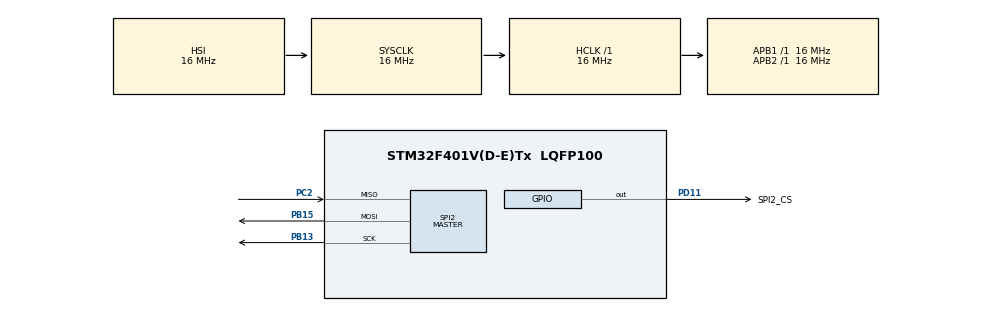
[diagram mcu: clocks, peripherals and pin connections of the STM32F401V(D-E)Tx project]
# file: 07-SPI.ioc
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Dma.Request0=SPI2_TX
Dma.SPI2_TX.0.Direction=DMA_MEMORY_TO_PERIPH
Dma.SPI2_TX.0.FIFOMode=DMA_FIFOMODE_DISABLE
Dma.SPI2_TX.0.Instance=DMA1_Stream4
Dma.SPI2_TX.0.MemDataAlignment=DMA_MDATAALIGN_BYTE
Dma.SPI2_TX.0.MemInc=DMA_MINC_ENABLE
Dma.SPI2_TX.0.Mode=DMA_CIRCULAR
Dma.SPI2_TX.0.PeriphDataAlignment=DMA_PDATAALIGN_BYTE
Dma.SPI2_TX.0.PeriphInc=DMA_PINC_DISABLE
Dma.SPI2_TX.0.Priority=DMA_PRIORITY_LOW
Mcu.Family=STM32F4
Mcu.Name=STM32F401V(D-E)Tx
Mcu.Package=LQFP100
NVIC.DMA1_Stream4_IRQn=true\:0\:0\:false\:false\:true\:false\:true\:true
NVIC.PriorityGroup=NVIC_PRIORITYGROUP_4
NVIC.SPI2_IRQn=true\:0\:0\:false\:false\:true\:true\:true\:true
PA13.Mode=Serial_Wire
PA13.Signal=SYS_JTMS-SWDIO
PA14.Mode=Serial_Wire
PA14.Signal=SYS_JTCK-SWCLK
PB13.Mode=Full_Duplex_Master
PB13.Signal=SPI2_SCK
PB15.Mode=Full_Duplex_Master
PB15.Signal=SPI2_MOSI
PC2.Mode=Full_Duplex_Master
PC2.Signal=SPI2_MISO
PD11.GPIO_Label=SPI2_CS
PD11.PinState=GPIO_PIN_SET
PD11.Signal=GPIO_Output
ProjectManager.HeapSize=0x200
ProjectManager.StackSize=0x400
ProjectManager.TargetToolchain=STM32CubeIDE
RCC.AHBFreq_Value=16000000
RCC.APB1Freq_Value=16000000
RCC.APB2Freq_Value=16000000
RCC.CortexFreq_Value=16000000
RCC.HSE_VALUE=25000000
RCC.HSI_VALUE=16000000
RCC.LSE_VALUE=32768
RCC.SYSCLKFreq_VALUE=16000000
RCC.VCOOutputFreq_Value=192000000
SPI2.DataSize=SPI_DATASIZE_8BIT
SPI2.Direction=SPI_DIRECTION_2LINES
SPI2.Mode=SPI_MODE_MASTER
SPI2.VirtualType=VM_MASTER
board=custom

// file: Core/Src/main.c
/* USER CODE BEGIN Header */
/**
  ******************************************************************************
  * @file           : main.c
  * @brief          : Main program body
  ******************************************************************************
  * @attention
  *
  * Copyright (c) 2022 STMicroelectronics.
  * All rights reserved.
  *
  * This software is licensed under terms that can be found in the LICENSE file
  * in the root directory of this software component.
  * If no LICENSE file comes with this software, it is provided AS-IS.
  *
  ******************************************************************************
  */
/* USER CODE END Header */
#include "main.h"

SPI_HandleTypeDef hspi2;
DMA_HandleTypeDef hdma_spi2_tx;

void SystemClock_Config(void);
static void MX_GPIO_Init(void);
static void MX_DMA_Init(void);
static void MX_SPI2_Init(void);
/* USER CODE BEGIN PFP */
static void HAL_SPI_ChangeDataSizeTo16Bit( SPI_HandleTypeDef *hspi );
static void HAL_SPI_ChangeDataSizeTo8Bit( SPI_HandleTypeDef *hspi );
/* USER CODE END PFP */

int main(void)
{

  /* MCU Configuration--------------------------------------------------------*/

  /* Reset of all peripherals, Initializes the Flash interface and the Systick. */
  HAL_Init();

  /* Configure the system clock */
  SystemClock_Config();

  /* Initialize all configured peripherals */
  MX_GPIO_Init();
  MX_DMA_Init();
  MX_SPI2_Init();
  /* USER CODE BEGIN 2 */
  // 16-bit mode
  HAL_SPI_ChangeDataSizeTo16Bit(&hspi2);
  HAL_GPIO_WritePin(SPI2_CS_GPIO_Port, SPI2_CS_Pin, GPIO_PIN_RESET);
  uint16_t data1[] = {0x0102, 0x0304, 0x0506, 0x0708, 0x0910};
  HAL_SPI_Transmit(&hspi2, (uint8_t*)data1, 5u, 1000u);
  HAL_GPIO_WritePin(SPI2_CS_GPIO_Port, SPI2_CS_Pin, GPIO_PIN_SET);
  // 8-bit mode
  HAL_SPI_ChangeDataSizeTo8Bit(&hspi2);
  HAL_GPIO_WritePin(SPI2_CS_GPIO_Port, SPI2_CS_Pin, GPIO_PIN_RESET);
  uint8_t data2[] = {0x01, 0x02, 0x03, 0x04, 0x05, 0x06, 0x07, 0x08, 0x09, 0x10};
  HAL_SPI_Transmit(&hspi2, data2, 10u, 1000u);
  HAL_GPIO_WritePin(SPI2_CS_GPIO_Port, SPI2_CS_Pin, GPIO_PIN_SET);

  // DMA Transfer
  // HAL_GPIO_WritePin(SPI2_CS_GPIO_Port, SPI2_CS_Pin, GPIO_PIN_RESET);
  // HAL_SPI_Transmit_DMA(&hspi2, data2, 10u);
  // HAL_GPIO_WritePin(SPI2_CS_GPIO_Port, SPI2_CS_Pin, GPIO_PIN_SET);
  /* USER CODE END 2 */

  /* Infinite loop */
  while (1)
  {

  }
}

void SystemClock_Config(void)
{
  RCC_OscInitTypeDef RCC_OscInitStruct = {0};
  RCC_ClkInitTypeDef RCC_ClkInitStruct = {0};

  /** Configure the main internal regulator output voltage
  */
  __HAL_RCC_PWR_CLK_ENABLE();
  __HAL_PWR_VOLTAGESCALING_CONFIG(PWR_REGULATOR_VOLTAGE_SCALE2);

  /** Initializes the RCC Oscillators according to the specified parameters
  * in the RCC_OscInitTypeDef structure.
  */
  RCC_OscInitStruct.OscillatorType = RCC_OSCILLATORTYPE_HSI;
  RCC_OscInitStruct.HSIState = RCC_HSI_ON;
  RCC_OscInitStruct.HSICalibrationValue = RCC_HSICALIBRATION_DEFAULT;
  RCC_OscInitStruct.PLL.PLLState = RCC_PLL_NONE;
  if (HAL_RCC_OscConfig(&RCC_OscInitStruct) != HAL_OK)
  {
    Error_Handler();
  }

  /** Initializes the CPU, AHB and APB buses clocks
  */
  RCC_ClkInitStruct.ClockType = RCC_CLOCKTYPE_HCLK|RCC_CLOCKTYPE_SYSCLK
                              |RCC_CLOCKTYPE_PCLK1|RCC_CLOCKTYPE_PCLK2;
  RCC_ClkInitStruct.SYSCLKSource = RCC_SYSCLKSOURCE_HSI;
  RCC_ClkInitStruct.AHBCLKDivider = RCC_SYSCLK_DIV1;
  RCC_ClkInitStruct.APB1CLKDivider = RCC_HCLK_DIV1;
  RCC_ClkInitStruct.APB2CLKDivider = RCC_HCLK_DIV1;

  if (HAL_RCC_ClockConfig(&RCC_ClkInitStruct, FLASH_LATENCY_0) != HAL_OK)
  {
    Error_Handler();
  }
}

static void MX_SPI2_Init(void)
{

  /* SPI2 parameter configuration*/
  hspi2.Instance = SPI2;
  hspi2.Init.Mode = SPI_MODE_MASTER;
  hspi2.Init.Direction = SPI_DIRECTION_2LINES;
  hspi2.Init.DataSize = SPI_DATASIZE_8BIT;
  hspi2.Init.CLKPolarity = SPI_POLARITY_LOW;
  hspi2.Init.CLKPhase = SPI_PHASE_1EDGE;
  hspi2.Init.NSS = SPI_NSS_SOFT;
  hspi2.Init.BaudRatePrescaler = SPI_BAUDRATEPRESCALER_2;
  hspi2.Init.FirstBit = SPI_FIRSTBIT_MSB;
  hspi2.Init.TIMode = SPI_TIMODE_DISABLE;
  hspi2.Init.CRCCalculation = SPI_CRCCALCULATION_DISABLE;
  hspi2.Init.CRCPolynomial = 10;
  if (HAL_SPI_Init(&hspi2) != HAL_OK)
  {
    Error_Handler();
  }

}

static void MX_DMA_Init(void)
{

  /* DMA controller clock enable */
  __HAL_RCC_DMA1_CLK_ENABLE();

  /* DMA interrupt init */
  /* DMA1_Stream4_IRQn interrupt configuration */
  HAL_NVIC_SetPriority(DMA1_Stream4_IRQn, 0, 0);
  HAL_NVIC_EnableIRQ(DMA1_Stream4_IRQn);

}

static void MX_GPIO_Init(void)
{
  GPIO_InitTypeDef GPIO_InitStruct = {0};

  /* GPIO Ports Clock Enable */
  __HAL_RCC_GPIOC_CLK_ENABLE();
  __HAL_RCC_GPIOB_CLK_ENABLE();
  __HAL_RCC_GPIOD_CLK_ENABLE();
  __HAL_RCC_GPIOA_CLK_ENABLE();

  /*Configure GPIO pin Output Level */
  HAL_GPIO_WritePin(SPI2_CS_GPIO_Port, SPI2_CS_Pin, GPIO_PIN_SET);

  /*Configure GPIO pin : SPI2_CS_Pin */
  GPIO_InitStruct.Pin = SPI2_CS_Pin;
  GPIO_InitStruct.Mode = GPIO_MODE_OUTPUT_PP;
  GPIO_InitStruct.Pull = GPIO_NOPULL;
  GPIO_InitStruct.Speed = GPIO_SPEED_FREQ_LOW;
  HAL_GPIO_Init(SPI2_CS_GPIO_Port, &GPIO_InitStruct);

}

/* USER CODE BEGIN 4 */
static void HAL_SPI_ChangeDataSizeTo16Bit( SPI_HandleTypeDef *hspi )
{
  // If in 8-bit mode, then only change to 16-bit
  if( hspi->Init.DataSize == SPI_DATASIZE_8BIT )
  {
    // first disable SPI after checking the busy flag
    while( READ_BIT(hspi->Instance->SR, SPI_SR_BSY_Msk) );
    CLEAR_BIT(hspi->Instance->CR1, SPI_CR1_SPE_Msk );
    // set the data frame register for 16-bit mode
    hspi->Init.DataSize = SPI_DATASIZE_16BIT;
    SET_BIT(hspi->Instance->CR1, SPI_CR1_DFF_Msk );
    // enable SPI again
    SET_BIT(hspi->Instance->CR1, SPI_CR1_SPE_Msk );
  }
}

static void HAL_SPI_ChangeDataSizeTo8Bit( SPI_HandleTypeDef *hspi )
{
  // If in 16-bit mode, then only change to 8-bit
  if( hspi->Init.DataSize == SPI_DATASIZE_16BIT )
  {
    // first disable SPI after checking the busy flag
    while( READ_BIT(hspi->Instance->SR, SPI_SR_BSY_Msk) );
    CLEAR_BIT(hspi->Instance->CR1, SPI_CR1_SPE_Msk );
    // clear data frame register for 8-bit mode
    hspi->Init.DataSize = SPI_DATASIZE_8BIT;
    CLEAR_BIT(hspi->Instance->CR1, SPI_CR1_DFF_Msk );
    // enable SPI again
    SET_BIT(hspi->Instance->CR1, SPI_CR1_SPE_Msk );
  }
}
/* USER CODE END 4 */

void Error_Handler(void)
{
  __disable_irq();
  while (1)
  {
  }
}
